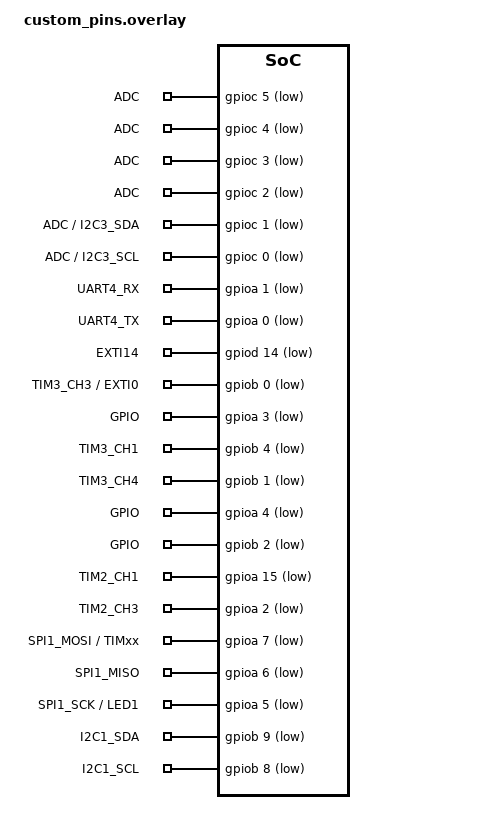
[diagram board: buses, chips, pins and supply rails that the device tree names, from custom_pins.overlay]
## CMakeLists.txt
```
cmake_minimum_required(VERSION 3.20)
set(DTC_OVERLAY_FILE ${CMAKE_CURRENT_SOURCE_DIR}/custom_pins.overlay)

# Add micro-ROS module
list(APPEND ZEPHYR_EXTRA_MODULES $ENV{ZEPHYR_BASE}/../modules/micro_ros_zephyr_module/modules/libmicroros)

find_package(Zephyr REQUIRED HINTS $ENV{ZEPHYR_BASE})
project(embarcados-zephyr)

# Get micro-ROS package list and add include directories
set(MICROROS_DIR $ENV{ZEPHYR_BASE}/../modules/micro_ros_zephyr_module/modules/libmicroros)
execute_process(
    COMMAND make --no-print-directory -f libmicroros.mk get_package_names COMPONENT_PATH=${MICROROS_DIR}
    WORKING_DIRECTORY ${MICROROS_DIR}
    OUTPUT_VARIABLE MICROROS_PACKAGES
    OUTPUT_STRIP_TRAILING_WHITESPACE
    ERROR_QUIET
)
# Add each package include directory
foreach(pkg ${MICROROS_PACKAGES})
    include_directories(${MICROROS_DIR}/include/${pkg})
endforeach()

# Compiler flags for C code
set(CMAKE_C_FLAGS "${CMAKE_C_FLAGS} -Wall -pedantic")

add_library(distance ${CMAKE_CURRENT_SOURCE_DIR}/src/distance/distance.c)
target_include_directories(distance PUBLIC
    ${CMAKE_CURRENT_SOURCE_DIR}/src/distance
    ${ZEPHYR_BASE}/include
)
target_link_libraries(distance PRIVATE zephyr)

add_library(utils ${CMAKE_CURRENT_SOURCE_DIR}/src/utils/utils.c)
target_include_directories(utils PUBLIC
    ${CMAKE_CURRENT_SOURCE_DIR}/src/utils
    ${CMAKE_CURRENT_SOURCE_DIR}/src/distance
    ${ZEPHYR_BASE}/include
)
target_link_libraries(utils PRIVATE zephyr distance)

add_library(uros ${CMAKE_CURRENT_SOURCE_DIR}/src/uros/uros.c)
target_include_directories(uros PUBLIC
    ${CMAKE_CURRENT_SOURCE_DIR}/src/uros
    ${ZEPHYR_BASE}/include
)
# Link with microros - it provides include directories via INTERFACE
target_link_libraries(uros PUBLIC microros)
target_link_libraries(uros PRIVATE zephyr)
add_dependencies(uros microros)

target_link_libraries(app PRIVATE utils distance uros)
target_sources(app PRIVATE ${CMAKE_CURRENT_SOURCE_DIR}/src/main.c)
```

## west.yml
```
manifest:
  self:
    path: .

  projects:
  - name: micro_ros_zephyr_module
    url: https://github.com/micro-ROS/micro_ros_zephyr_module
    revision: jazzy
    path: modules/micro_ros_zephyr_module
    import: modules/libmicroros
```

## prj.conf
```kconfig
# enable printk and printf
# Note: printk will use RTT or SEGGER when UART console is disabled
CONFIG_PRINTK=y
CONFIG_STDOUT_CONSOLE=n
CONFIG_CBPRINTF_FP_SUPPORT=y

# enable uart driver
CONFIG_SERIAL=y
CONFIG_UART_INTERRUPT_DRIVEN=y

# enable GPIO
CONFIG_GPIO=y

# enable ADC
CONFIG_ADC=y

# enable clock
CONFIG_CLOCK_CONTROL=y

# console - DISABLED to avoid conflict with micro-ROS serial transport
CONFIG_CONSOLE=n
CONFIG_UART_CONSOLE=n

# enable MPU
CONFIG_ARM_MPU=y

# Enable HW stack protection
CONFIG_HW_STACK_PROTECTION=y

# enable pin controller
CONFIG_PINCTRL=y

# enable cplusplus
CONFIG_CPP=y
CONFIG_STD_CPP17=y

# enable tensorflow lite
# CONFIG_TENSORFLOW_LITE_MICRO=y

# enable newlib
CONFIG_NEWLIB_LIBC=y

# micro-ROS
CONFIG_MICROROS=y
CONFIG_MICROROS_TRANSPORT_SERIAL=y
CONFIG_MICROROS_SERIAL_PORT="1"

# Stack sizes for micro-ROS
CONFIG_MAIN_STACK_SIZE=8192
CONFIG_MAIN_THREAD_PRIORITY=3
CONFIG_SYSTEM_WORKQUEUE_STACK_SIZE=2048

# Heap for micro-ROS dynamic allocation
CONFIG_HEAP_MEM_POOL_SIZE=32768

# POSIX API for micro-ROS
CONFIG_POSIX_API=y

# Newlib settings
# CONFIG_NEWLIB_LIBC_NANO=n

# Debug and assertions for bring-up
CONFIG_ASSERT=y
CONFIG_DEBUG_OPTIMIZATIONS=y

# Logging configuration
CONFIG_LOG=y
CONFIG_LOG_DEFAULT_LEVEL=3
```

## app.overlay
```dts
/*
 * Device Tree Overlay for micro-ROS on B-L475E-IOT01A
 *
 * This overlay configures USART1 for micro-ROS serial transport
 * and ensures no conflict with the console UART.
 */

/* Configure USART1 for micro-ROS at 115200 baud */
&usart1 {
    status = "okay";
    current-speed = <115200>;
};

/*
 * Optional: If you want to re-enable console on a different UART later,
 * you can uncomment and configure LPUART1:
 *
 * &lpuart1 {
 *     status = "okay";
 *     current-speed = <115200>;
 * };
 *
 * / {
 *     chosen {
 *         zephyr,console = &lpuart1;
 *         zephyr,shell-uart = &lpuart1;
 *     };
 * };
 */
```

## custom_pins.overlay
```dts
/ {
    pins {
        compatible = "gpio-keys";
        status = "okay";

        a0: a0 {
            label = "ADC";
            gpios = <&gpioc 5 GPIO_ACTIVE_LOW>;
        };

        a1: a1 {
            label = "ADC";
            gpios = <&gpioc 4 GPIO_ACTIVE_LOW>;
        };

        a2: a2 {
            label = "ADC";
            gpios = <&gpioc 3 GPIO_ACTIVE_LOW>;
        };

        a3: a3 {
            label = "ADC";
            gpios = <&gpioc 2 GPIO_ACTIVE_LOW>;
        };

        a4: a4 {
            label = "ADC / I2C3_SDA";
            gpios = <&gpioc 1 GPIO_ACTIVE_LOW>;
        };

        a5: a5 {
            label = "ADC / I2C3_SCL";
            gpios = <&gpioc 0 GPIO_ACTIVE_LOW>;
        };

        d0: d0 {
            label = "UART4_RX";
            gpios = <&gpioa 1 GPIO_ACTIVE_LOW>;
        };

        d1: d1 {
            label = "UART4_TX";
            gpios = <&gpioa 0 GPIO_ACTIVE_LOW>;
        };

        d2: d2 {
            label = "EXTI14";
            gpios = <&gpiod 14 GPIO_ACTIVE_LOW>;
        };

        d3: d3 {
            label = "TIM3_CH3 / EXTI0";
            gpios = <&gpiob 0 GPIO_ACTIVE_LOW>;
        };

        d4: d4 {
            label = "GPIO";
            gpios = <&gpioa 3 GPIO_ACTIVE_LOW>;
        };

        d5: d5 {
            label = "TIM3_CH1";
            gpios = <&gpiob 4 GPIO_ACTIVE_LOW>;
        };

        d6: d6 {
            label = "TIM3_CH4";
            gpios = <&gpiob 1 GPIO_ACTIVE_LOW>;
        };

        d7: d7 {
            label = "GPIO";
            gpios = <&gpioa 4 GPIO_ACTIVE_LOW>;
        };

        d8: d8 {
            label = "GPIO";
            gpios = <&gpiob 2 GPIO_ACTIVE_LOW>;
        };

        d9: d9 {
            label = "TIM2_CH1";
            gpios = <&gpioa 15 GPIO_ACTIVE_LOW>;
        };

        d10: d10 {
            label = "TIM2_CH3";
            gpios = <&gpioa 2 GPIO_ACTIVE_LOW>;
        };

        d11: d11 {
            label = "SPI1_MOSI / TIMxx";
            gpios = <&gpioa 7 GPIO_ACTIVE_LOW>;
        };

        d12: d12 {
            label = "SPI1_MISO";
            gpios = <&gpioa 6 GPIO_ACTIVE_LOW>;
        };

        d13: d13 {
            label = "SPI1_SCK / LED1";
            gpios = <&gpioa 5 GPIO_ACTIVE_LOW>;
        };

        d14: d14 {
            label = "I2C1_SDA";
            gpios = <&gpiob 9 GPIO_ACTIVE_LOW>;
        };

        d15: d15 {
            label = "I2C1_SCL";
            gpios = <&gpiob 8 GPIO_ACTIVE_LOW>;
        };
    };

    aliases {
        a0 = &a0;
        a1 = &a1;
        a2 = &a2;
        a3 = &a3;
        a4 = &a4;
        a5 = &a5;
        d0 = &d0;
        d1 = &d1;
        d2 = &d2;
        d3 = &d3;
        d4 = &d4;
        d5 = &d5;
        d6 = &d6;
        d7 = &d7;
        d8 = &d8;
        d9 = &d9;
        d10 = &d10;
        d11 = &d11;
        d12 = &d12;
        d13 = &d13;
        d14 = &d14;
        d15 = &d15;
    };
};
```

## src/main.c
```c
#include "utils.h"
#include "distance.h"

int main(void)
{
    static struct k_msgq distance_queue;
    static char distance_queue_buffer[QUEUE_SIZE * sizeof(double)];
    static struct k_thread distance_calculator_thread_data;
    static struct gpio_dt_spec button = GPIO_DT_SPEC_GET_OR(SW0_NODE, gpios, {0});
    static struct gpio_dt_spec echo = GPIO_DT_SPEC_GET_OR(ECHO_NODE, gpios, {0});
    static struct gpio_dt_spec trig = GPIO_DT_SPEC_GET_OR(TRIG_NODE, gpios, {0});
    static btn_callback_data_t button_cb_data = {
        .trig = &trig,
    };
    static uint32_t timer = 0;
    static echo_callback_data_t echo_cb_data = {
        .echo = &echo,
        .distance_queue = &distance_queue,
        .timer = &timer,
    };

    configure_output(&trig, GPIO_OUTPUT);
    gpio_pin_set(trig.port, trig.pin, 0);
    configure_input(&echo, GPIO_INPUT | GPIO_PULL_DOWN, GPIO_INT_EDGE_BOTH);
    configure_input_cb(&echo_cb_data.cb, &echo, echo_callback);
    configure_input(&button, GPIO_INPUT, GPIO_INT_EDGE_TO_ACTIVE);
    configure_input_cb(&button_cb_data.cb, &button, button_pressed);

    k_msgq_init(&distance_queue, distance_queue_buffer, sizeof(double), QUEUE_SIZE);

    k_thread_create(&distance_calculator_thread_data, distance_calculator_thread_stack_area,
                    K_THREAD_STACK_SIZEOF(distance_calculator_thread_stack_area),
                    distance_calculator_thread, &distance_queue, NULL, NULL,
                    PRIORITY, 0, K_FOREVER);
    k_thread_name_set(&distance_calculator_thread_data, "calculate distance thread");
    k_thread_start(&distance_calculator_thread_data);

    return 0;
}
```
